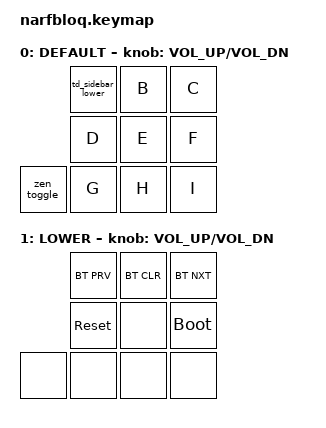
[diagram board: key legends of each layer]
#include <behaviors.dtsi>
#include <dt-bindings/zmk/keys.h>
#include <dt-bindings/zmk/bt.h>
#include <dt-bindings/zmk/outputs.h>

#define DEFAULT 0
#define LOWER   1

/ {
    behaviors {
        zen_toggle: zen_toggle {
            compatible = "zmk,behavior-macro";
            #binding-cells = <0>;
            bindings = <&kp LG(K) &kp Z>;
        };

        td_sidebar_lower: td_sidebar_lower {
            compatible = "zmk,behavior-tap-dance";
            #binding-cells = <0>;
            tapping-term-ms = <250>;
            bindings = <&kp LG(B) &tog LOWER>;
        };
    };

    keymap {
        compatible = "zmk,keymap";
        default_layer {
            label= "DEFAULT";
            bindings = <
                          &td_sidebar_lower  &kp B               &kp C
                          &kp D              &kp E               &kp F
            &zen_toggle    &kp G              &kp H              &kp I
            >;
            sensor-bindings = <&inc_dec_kp C_VOL_UP C_VOL_DN>;
        };
        lower_layer {
            label = "LOWER";
            bindings = <
                          &bt BT_PRV        &bt BT_CLR          &bt BT_NXT
                          &sys_reset        &none               &bootloader
             &none        &none             &none               &none
            >;
            sensor-bindings = <&inc_dec_kp C_VOL_UP C_VOL_DN>;
        };
    };
};
